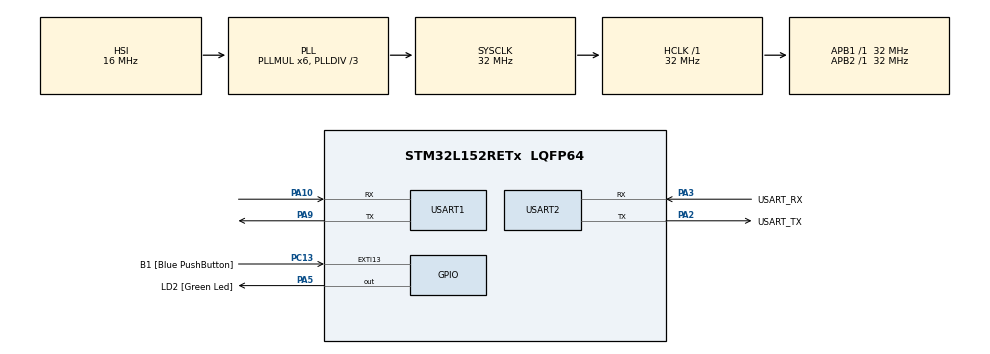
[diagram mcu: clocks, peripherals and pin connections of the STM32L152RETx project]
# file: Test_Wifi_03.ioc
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FREERTOS.Tasks01=Task01,0,128,StartTask01,Default,NULL,Static,Task01Buffer,Task01ControlBlock
FREERTOS.configUSE_NEWLIB_REENTRANT=1
Mcu.Family=STM32L1
Mcu.Name=STM32L152RETx
Mcu.Package=LQFP64
NVIC.PriorityGroup=NVIC_PRIORITYGROUP_4
NVIC.TIM2_IRQn=true\:15\:0\:false\:false\:true\:false\:false\:true\:true
NVIC.TimeBase=TIM2_IRQn
NVIC.TimeBaseIP=TIM2
NVIC.USART1_IRQn=true\:5\:0\:false\:false\:true\:true\:true\:true\:true
PA10.Mode=Asynchronous
PA10.Signal=USART1_RX
PA13.GPIO_Label=TMS
PA13.Mode=Serial_Wire
PA13.Signal=SYS_JTMS-SWDIO
PA14.GPIO_Label=TCK
PA14.Mode=Serial_Wire
PA14.Signal=SYS_JTCK-SWCLK
PA2.GPIO_Label=USART_TX
PA2.Mode=Asynchronous
PA2.Signal=USART2_TX
PA3.GPIO_Label=USART_RX
PA3.Mode=Asynchronous
PA3.Signal=USART2_RX
PA5.GPIO_Label=LD2 [Green Led]
PA5.Signal=GPIO_Output
PA9.Mode=Asynchronous
PA9.Signal=USART1_TX
PB3.GPIO_Label=SWO
PB3.Signal=SYS_JTDO-TRACESWO
PC13-WKUP2.GPIO_Label=B1 [Blue PushButton]
PC13-WKUP2.Signal=GPXTI13
PC14-OSC32_IN.Mode=LSE-External-Oscillator
PC14-OSC32_IN.Signal=RCC_OSC32_IN
PC15-OSC32_OUT.Mode=LSE-External-Oscillator
PC15-OSC32_OUT.Signal=RCC_OSC32_OUT
PH0-OSC_IN.Mode=HSE-External-Clock-Source
PH0-OSC_IN.Signal=RCC_OSC_IN
PH1-OSC_OUT.Signal=RCC_OSC_OUT
ProjectManager.HeapSize=0x200
ProjectManager.StackSize=0x400
ProjectManager.TargetToolchain=STM32CubeIDE
RCC.48MHZClocksFreq_Value=48000000
RCC.AHBFreq_Value=32000000
RCC.APB1Freq_Value=32000000
RCC.APB1TimFreq_Value=32000000
RCC.APB2Freq_Value=32000000
RCC.APB2TimFreq_Value=32000000
RCC.HCLKFreq_Value=32000000
RCC.HSE_VALUE=8000000
RCC.HSI_VALUE=16000000
RCC.MSI_VALUE=2097000
RCC.PLLDIV=RCC_PLL_DIV3
RCC.PLLMUL=RCC_PLL_MUL6
RCC.RTCClockSelectionVirtual=RCC_RTCCLKSOURCE_LSE
RCC.SYSCLKFreq_VALUE=32000000
RCC.SYSCLKSource=RCC_SYSCLKSOURCE_PLLCLK
RCC.USBOutput=48000000
RCC.VCOOutputFreq_Value=96000000
USART1.VirtualMode=VM_ASYNC
USART2.VirtualMode=VM_ASYNC
VP_FREERTOS_VS_CMSIS_V1.Mode=CMSIS_V1
VP_SYS_VS_tim2.Mode=TIM2
board=NUCLEO-L152RE

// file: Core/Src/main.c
/* USER CODE BEGIN Header */
/**
  ******************************************************************************
  * @file           : main.c
  * @brief          : Main program body
  ******************************************************************************
  * @attention
  *
  * Copyright (c) 2023 STMicroelectronics.
  * All rights reserved.
  *
  * This software is licensed under terms that can be found in the LICENSE file
  * in the root directory of this software component.
  * If no LICENSE file comes with this software, it is provided AS-IS.
  *
  ******************************************************************************
  */
/* USER CODE END Header */
#include "main.h"
#include "cmsis_os.h"
#include "usart.h"
#include "gpio.h"

/* USER CODE BEGIN Includes */
#include "stdlib.h"
#include "stdio.h"
/* USER CODE END Includes */

void SystemClock_Config(void);
void MX_FREERTOS_Init(void);
/* USER CODE BEGIN PFP */
int _write(int file, char *ptr, int len);
/* USER CODE END PFP */

/* USER CODE BEGIN 0 */
int _write(int file, char *ptr, int len)
{
int DataIdx;
for (DataIdx = 0; DataIdx < len; DataIdx++)
{
//__io_putchar(*ptr++);
ITM_SendChar(*ptr++);
}
return len;
}
/* USER CODE END 0 */

int main(void)
{

  /* MCU Configuration--------------------------------------------------------*/

  /* Reset of all peripherals, Initializes the Flash interface and the Systick. */
  HAL_Init();

  /* Configure the system clock */
  SystemClock_Config();

  /* Initialize all configured peripherals */
  MX_GPIO_Init();
  MX_USART2_UART_Init();
  MX_USART1_UART_Init();

  /* Call init function for freertos objects (in freertos.c) */
  MX_FREERTOS_Init();

  /* Start scheduler */
  osKernelStart();

  /* We should never get here as control is now taken by the scheduler */
  /* Infinite loop */
  while (1)
  {

    /* USER CODE BEGIN 3 */
	  HAL_UART_Receive_IT(&huart1, (uint8_t*)gbl_rcv_buffer, sizeof(gbl_rcv_buffer[0]));

	HAL_Delay(5000);
	strncpy(gbl_tsm_buffer, "AT+RST", 7);
	HAL_UART_Transmit_IT(&huart1, (uint8_t*)gbl_tsm_buffer, sizeof(gbl_tsm_buffer[0]));

	HAL_Delay(5000);
	strncpy(gbl_tsm_buffer, "AT", 3);
	HAL_UART_Transmit_IT(&huart1, (uint8_t*)gbl_tsm_buffer, sizeof(gbl_tsm_buffer[0]));
	HAL_Delay(5000);
	strncpy(gbl_tsm_buffer, "AT+CWLAP", 9);
	HAL_UART_Transmit_IT(&huart1, (uint8_t*)gbl_tsm_buffer, sizeof(gbl_tsm_buffer[0]));
  }
  /* USER CODE END 3 */
}

void SystemClock_Config(void)
{
  RCC_OscInitTypeDef RCC_OscInitStruct = {0};
  RCC_ClkInitTypeDef RCC_ClkInitStruct = {0};

  /** Configure the main internal regulator output voltage
  */
  __HAL_PWR_VOLTAGESCALING_CONFIG(PWR_REGULATOR_VOLTAGE_SCALE1);

  /** Initializes the RCC Oscillators according to the specified parameters
  * in the RCC_OscInitTypeDef structure.
  */
  RCC_OscInitStruct.OscillatorType = RCC_OSCILLATORTYPE_HSI;
  RCC_OscInitStruct.HSIState = RCC_HSI_ON;
  RCC_OscInitStruct.HSICalibrationValue = RCC_HSICALIBRATION_DEFAULT;
  RCC_OscInitStruct.PLL.PLLState = RCC_PLL_ON;
  RCC_OscInitStruct.PLL.PLLSource = RCC_PLLSOURCE_HSI;
  RCC_OscInitStruct.PLL.PLLMUL = RCC_PLL_MUL6;
  RCC_OscInitStruct.PLL.PLLDIV = RCC_PLL_DIV3;
  if (HAL_RCC_OscConfig(&RCC_OscInitStruct) != HAL_OK)
  {
    Error_Handler();
  }

  /** Initializes the CPU, AHB and APB buses clocks
  */
  RCC_ClkInitStruct.ClockType = RCC_CLOCKTYPE_HCLK|RCC_CLOCKTYPE_SYSCLK
                              |RCC_CLOCKTYPE_PCLK1|RCC_CLOCKTYPE_PCLK2;
  RCC_ClkInitStruct.SYSCLKSource = RCC_SYSCLKSOURCE_PLLCLK;
  RCC_ClkInitStruct.AHBCLKDivider = RCC_SYSCLK_DIV1;
  RCC_ClkInitStruct.APB1CLKDivider = RCC_HCLK_DIV1;
  RCC_ClkInitStruct.APB2CLKDivider = RCC_HCLK_DIV1;

  if (HAL_RCC_ClockConfig(&RCC_ClkInitStruct, FLASH_LATENCY_1) != HAL_OK)
  {
    Error_Handler();
  }
}

void HAL_TIM_PeriodElapsedCallback(TIM_HandleTypeDef *htim)
{
  if (htim->Instance == TIM2) {
    HAL_IncTick();
  }
}

void Error_Handler(void)
{
  __disable_irq();
  while (1)
  {
  }
}

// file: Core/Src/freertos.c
/* USER CODE BEGIN Header */
/**
  ******************************************************************************
  * File Name          : freertos.c
  * Description        : Code for freertos applications
  ******************************************************************************
  * @attention
  *
  * Copyright (c) 2023 STMicroelectronics.
  * All rights reserved.
  *
  * This software is licensed under terms that can be found in the LICENSE file
  * in the root directory of this software component.
  * If no LICENSE file comes with this software, it is provided AS-IS.
  *
  ******************************************************************************
  */
/* USER CODE END Header */

#include "FreeRTOS.h"
#include "task.h"
#include "main.h"
#include "cmsis_os.h"
#include "wifi.h"

osThreadId Task01Handle;
uint32_t Task01Buffer[ 128 ];
osStaticThreadDef_t Task01ControlBlock;

void StartTask01(void const * argument);

void MX_FREERTOS_Init(void); /* (MISRA C 2004 rule 8.1) */

/* GetIdleTaskMemory prototype (linked to static allocation support) */
void vApplicationGetIdleTaskMemory( StaticTask_t **ppxIdleTaskTCBBuffer, StackType_t **ppxIdleTaskStackBuffer, uint32_t *pulIdleTaskStackSize );

/* USER CODE BEGIN GET_IDLE_TASK_MEMORY */
static StaticTask_t xIdleTaskTCBBuffer;
static StackType_t xIdleStack[configMINIMAL_STACK_SIZE];

void vApplicationGetIdleTaskMemory( StaticTask_t **ppxIdleTaskTCBBuffer, StackType_t **ppxIdleTaskStackBuffer, uint32_t *pulIdleTaskStackSize )
{
  *ppxIdleTaskTCBBuffer = &xIdleTaskTCBBuffer;
  *ppxIdleTaskStackBuffer = &xIdleStack[0];
  *pulIdleTaskStackSize = configMINIMAL_STACK_SIZE;
  /* place for user code */
}
/* USER CODE END GET_IDLE_TASK_MEMORY */

void MX_FREERTOS_Init(void) {
  /* USER CODE BEGIN Init */
	printf("Start init wifi ...\n");
	Wifi_Init(osPriorityHigh);
	if(Wifi_Restart() == true)printf(" wifi_restart successful ! \n");
	else printf(" wifi_restart failed ! \n");
	//Wifi_TcpIp_GetConnectionStatus();
	Wifi_UserInit();
  /* USER CODE END Init */

  /* Create the thread(s) */
  /* definition and creation of Task01 */
  osThreadStaticDef(Task01, StartTask01, osPriorityNormal, 0, 128, Task01Buffer, &Task01ControlBlock);
  Task01Handle = osThreadCreate(osThread(Task01), NULL);

}

void StartTask01(void const * argument)
{
  for(;;)
  {
    osDelay(1);
  }
}
